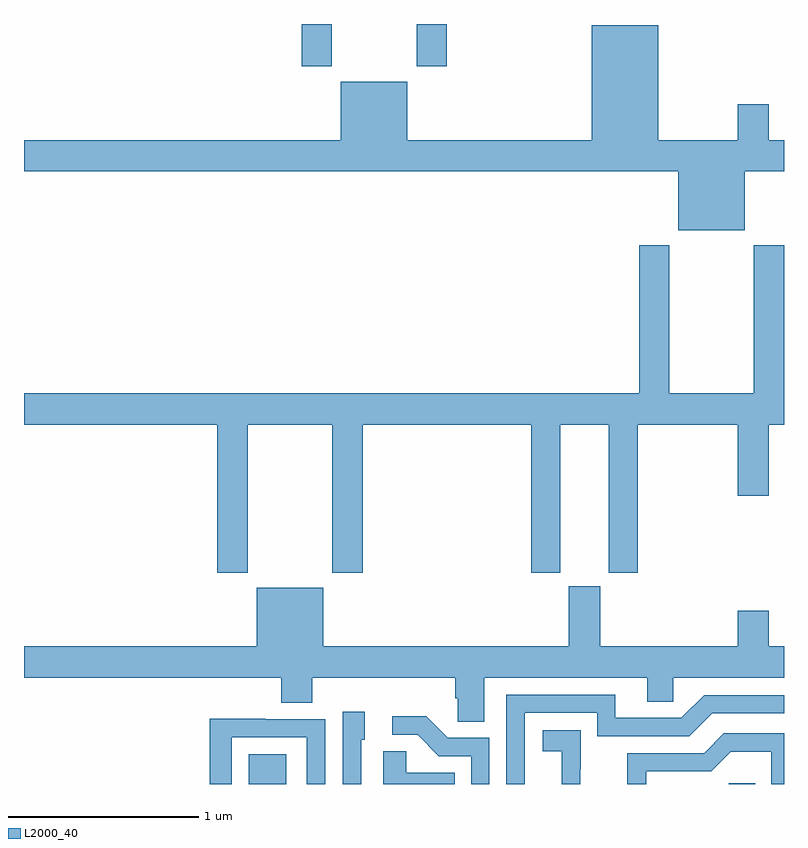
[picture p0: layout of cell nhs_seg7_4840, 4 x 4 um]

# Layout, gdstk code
import gdstk
lib = gdstk.Library(unit=1e-6, precision=1e-09)
def R(c, l, rs):  # rectangles x0, y0, x1, y1
    for r in rs: c.add(gdstk.rectangle(r[:2], r[2:], *l))
def P(c, l, *ps):  # polygons
    for p in ps: c.add(gdstk.Polygon(p, *l))
L2000_40 = (2000, 40)

nhs_seg7_4840 = lib.new_cell('nhs_seg7_4840')
R(nhs_seg7_4840, L2000_40, [(414.182,1056,414.379,1056.157), (416.709,1056,416.849,1056.003), (414.461,1059.777,414.621,1060), (415.066,1059.777,415.226,1060)])
P(nhs_seg7_4840, L2000_40, [(416.444,1058.915),(416.794,1058.915),(416.794,1059.224),(417,1059.224),(417,1059.388),(416.92,1059.388),(416.92,1059.577),(416.756,1059.577),(416.756,1059.388),(416.338,1059.388),(416.338,1059.994),(415.988,1059.994),(415.988,1059.388),(415.018,1059.388),(415.018,1059.697),(414.668,1059.697),(414.668,1059.388),(413,1059.388),(413,1059.224),(416.444,1059.224)],
  [(413,1057.892),(414.017,1057.892),(414.017,1057.113),(414.177,1057.113),(414.177,1057.892),(414.622,1057.892),(414.622,1057.113),(414.782,1057.113),(414.782,1057.892),(415.67,1057.892),(415.67,1057.113),(415.822,1057.113),(415.822,1057.892),(416.078,1057.892),(416.078,1057.113),(416.231,1057.113),(416.231,1057.892),(416.756,1057.892),(416.756,1057.518),(416.92,1057.518),(416.92,1057.892),(417,1057.892),(417,1058.836),(416.842,1058.836),(416.842,1058.056),(416.397,1058.056),(416.397,1058.836),(416.237,1058.836),(416.237,1058.056),(413,1058.056)],
  [(414.574,1057.033),(414.224,1057.033),(414.224,1056.724),(413,1056.724),(413,1056.56),(414.353,1056.56),(414.353,1056.427),(414.518,1056.427),(414.518,1056.56),(415.271,1056.56),(415.271,1056.451),(415.284,1056.451),(415.284,1056.328),(415.423,1056.328),(415.423,1056.56),(416.279,1056.56),(416.279,1056.433),(416.418,1056.433),(416.418,1056.56),(417,1056.56),(417,1056.724),(416.92,1056.724),(416.92,1056.913),(416.756,1056.913),(416.756,1056.724),(416.032,1056.724),(416.032,1057.041),(415.868,1057.041),(415.868,1056.724),(414.574,1056.724)],
  [(415.635,1056.375),(416.016,1056.375),(416.016,1056.252),(416.502,1056.252),(416.622,1056.372),(417,1056.372),(417,1056.468),(416.58,1056.468),(416.46,1056.348),(416.113,1056.348),(416.113,1056.471),(415.539,1056.471),(415.539,1056),(415.635,1056)],
  [(414.774,1056.234),(414.793,1056.234),(414.793,1056.379),(414.678,1056.379),(414.678,1056),(414.774,1056)],
  [(415.449,1056.243),(415.23,1056.243),(415.117,1056.356),(414.939,1056.356),(414.939,1056.258),(415.073,1056.258),(415.184,1056.147),(415.353,1056.147),(415.353,1056),(415.449,1056)],
  [(414.093,1056.246),(414.489,1056.246),(414.489,1056),(414.585,1056),(414.585,1056.342),(414.269,1056.342),(414.269,1056.344),(413.977,1056.344),(413.977,1056),(414.093,1056)],
  [(415.928,1056.077),(415.929,1056.077),(415.929,1056.283),(415.731,1056.283),(415.731,1056.173),(415.829,1056.173),(415.829,1056),(415.928,1056)],
  [(416.274,1056.066),(416.616,1056.066),(416.72,1056.17),(416.934,1056.17),(416.934,1056),(417,1056),(417,1056.267),(416.684,1056.267),(416.579,1056.162),(416.176,1056.162),(416.176,1056),(416.274,1056)],
  [(415.268,1056.058),(415.011,1056.058),(415.011,1056.173),(414.89,1056.173),(414.89,1056),(415.268,1056)])

lib.write_gds('nhs_seg7_4840.gds')
